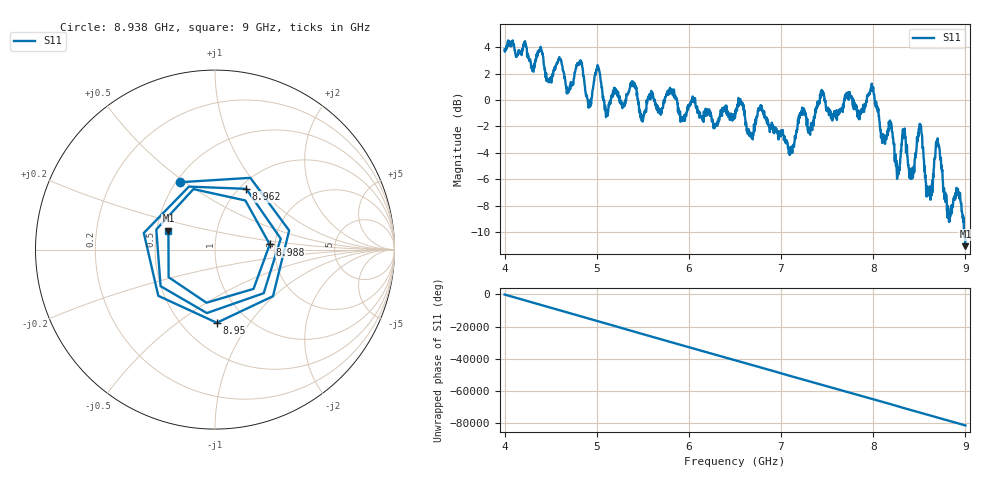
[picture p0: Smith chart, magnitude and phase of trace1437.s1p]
! Created with skrf 1.8.0 (http://scikit-rf.org).
# Hz S RI R 50.0
!freq ReS11 ImS11
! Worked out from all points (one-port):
!   1601 points, 4 GHz to 9 GHz, reference 50 ohm
!   lowest |S11| = -11.0 dB at 9 GHz (marker M1), VSWR 1.78, Z = 28.8 + j6.61 ohm
!   |S11| at or under -10 dB: 8.985419 GHz to end of sweep
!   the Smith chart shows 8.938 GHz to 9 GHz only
!   S11 on the Smith chart (normalised r, x): 8.938 GHz: 0.52, +0.48; 8.95 GHz: 0.73, -0.71; 8.962 GHz: 1.07, +0.85; 8.988 GHz: 1.87, +0.12; 9 GHz: 0.58, +0.13
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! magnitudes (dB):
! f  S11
! 4 GHz  3.8
! 4.625 GHz  2.6
! 4.688 GHz  0.6
! 4.822 GHz  3.0
! 4.916 GHz  -0.6
! 5.009 GHz  2.6
! 5.103 GHz  -1.2
! 5.25 GHz  -0.2
! 5.875 GHz  -0.3
! 6.5 GHz  -1.3
! 7.125 GHz  -3.5
! 7.228 GHz  -0.6
! 7.75 GHz  0.3
! 7.988 GHz  0.9
! 8.194 GHz  -1.7
! 8.259 GHz  -6.0
! 8.328 GHz  -2.3
! 8.375 GHz  -4.6
! 8.422 GHz  -5.3
! 8.506 GHz  -1.8
! 8.6 GHz  -6.7
! 8.7 GHz  -2.9
! 8.812 GHz  -8.1
! 8.938 GHz  -7.5
! 8.95 GHz  -7.8
! 8.962 GHz  -8.4
! 8.988 GHz  -10.3
! 9 GHz  -11.0
